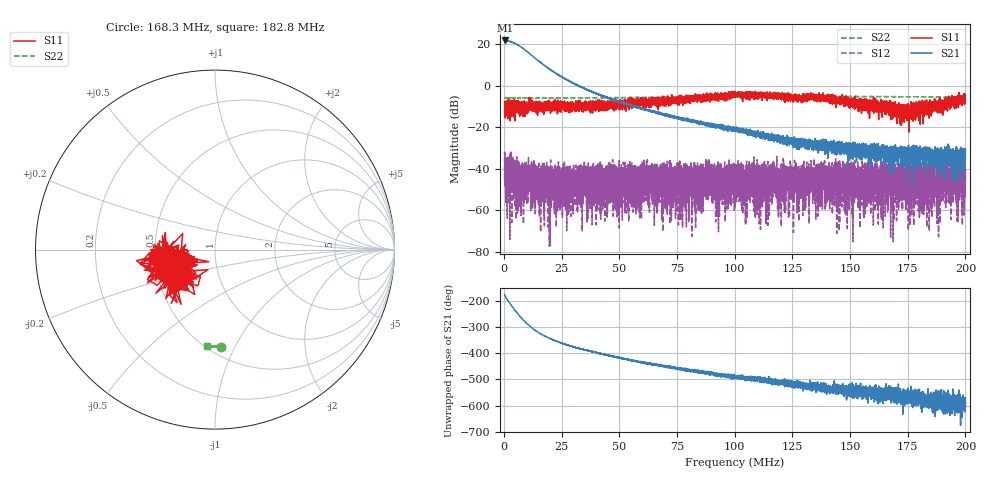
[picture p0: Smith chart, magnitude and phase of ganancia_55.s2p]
# Hz S DB R 50
! CMT, M5065, 19127446, 24.2.4/2
! Date: 10/29/2024 12:49:37 PM
! Data: Format (Calibration Info)
! Freq	S11:dB/Ang(F2)	S21:dB/Ang(F2)	S12:dB/Ang(F2)	S22:dB/Ang(F2)
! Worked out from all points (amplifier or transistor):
!   9000 points, 300 kHz to 200 MHz, reference 50 ohm
!   highest |S21| = 21.8 dB at 455.3 kHz (marker M1)
!   |S21| within 3 dB of that: start of sweep to 7.217 MHz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
!   unconditionally stable (mu >= 1): start of sweep to end of sweep
!   at 33.59 MHz: K = 46.97, MAG = 1.0 dB, |S12| = -42.1 dB
!   at 100.2 MHz: K = 1159.14, MAG = -18.1 dB, |S12| = -51.9 dB
!   at 200 MHz: K = 2617.93, MAG = -31.6 dB, |S12| = -45.6 dB
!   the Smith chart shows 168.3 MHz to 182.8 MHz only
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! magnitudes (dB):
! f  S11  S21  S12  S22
! 300 kHz  -10.2  21.7  -45.4  -6.0
! 455.3 kHz  -7.6  21.8  -41.1  -5.9
! 3.74 MHz  -9.1  20.9  -41.8  -6.0
! 6.58 MHz  -12.8  19.3  -40.5  -5.9
! 10.4 MHz  -10.0  16.1  -45.2  -5.9
! 12.53 MHz  -10.7  14.2  -39.2  -5.9
! 33.59 MHz  -10.8  -0.7  -42.1  -5.9
! 66.87 MHz  -9.3  -13.4  -39.5  -5.7
! 100.2 MHz  -5.7  -20.9  -51.9  -5.7
! 114.3 MHz  -4.5  -25.2  -46.9  -5.6
! 117.1 MHz  -5.2  -26.0  -46.0  -5.5
! 119.3 MHz  -4.0  -25.5  -50.7  -5.5
! 133.4 MHz  -6.8  -28.6  -47.9  -5.4
! 166.7 MHz  -9.2  -32.2  -40.8  -5.3
! 175.1 MHz  -12.4  -36.4  -49.6  -5.4
! 179.6 MHz  -14.0  -36.9  -40.5  -5.4
! 181.7 MHz  -11.1  -31.2  -39.5  -5.4
! 186.6 MHz  -10.3  -34.8  -47.6  -5.4
! 188.6 MHz  -10.1  -34.4  -53.2  -5.4
! 191.4 MHz  -10.0  -33.3  -40.8  -5.5
! 192.8 MHz  -8.2  -33.4  -46.6  -5.5
! 200 MHz  -5.5  -34.5  -45.6  -5.5
